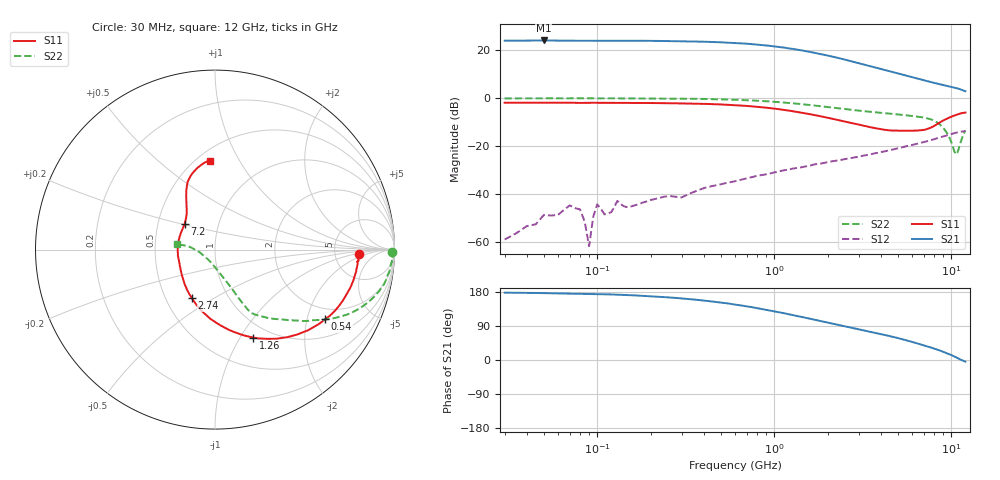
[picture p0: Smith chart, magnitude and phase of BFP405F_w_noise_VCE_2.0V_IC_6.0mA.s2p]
! Infineon Technologies  Discrete & RF Semiconductors
! BFP405F
! VCE =  2.0 V,  IC =  6.0 mA
! Common Emitter S-Parameters:  Nov 2015
# GHz  S  MA  R  50
!  f  S11  S21  S12  S22
! GHz  MAG  ANG  MAG  ANG  MAG  ANG  MAG  ANG
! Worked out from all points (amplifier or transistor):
!   239 points, 30 MHz to 12 GHz, reference 50 ohm
!   highest |S21| = 24.1 dB at 50 MHz (marker M1)
!   |S21| within 3 dB of that: start of sweep to 1.135 GHz
!   unconditionally stable (mu >= 1): start of sweep to 30.93 MHz; 2.693 GHz to end of sweep
!   at 300 MHz: K = 0.08, MSG = 32.7 dB, |S12| = -41.5 dB
!   at 1.88 GHz: K = 0.74, MSG = 22.7 dB, |S12| = -27.2 dB
!   at 12 GHz: K = 1.44, MAG = 4.4 dB, |S12| = -13.8 dB
!   lowest NFmin = 1.38 dB at 450 MHz
!   S11 on the Smith chart (normalised r, x): 30 MHz: 8.89, -1.25; 540 MHz: 1.58, -2.59; 1.26 GHz: 0.83, -1.14; 2.74 GHz: 0.68, -0.40; 7.2 GHz: 0.69, +0.21; 12 GHz: 0.58, +0.76
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0.03  0.8014 -1.8  15.89 177.7  0.0011 16.2  0.9858 -0.7
0.05  0.7965 -3.4  16.08 176.5  0.0036 121.1  0.9921 -1.4
0.07  0.8022 -4.5  15.92 175.1  0.0057 101.9  0.9904 -2.0
0.085  0.7967 -5.2  15.88 174.5  0.0026 78.3  0.9896 -2.4
0.09  0.7995 -5.5  15.91 174.5  0.0008 124.4  0.9904 -2.6
0.1  0.7986 -6.2  15.82 174.0  0.006 74.1  0.9854 -3.0
0.11  0.7976 -6.9  15.84 173.3  0.0037 87.0  0.9884 -3.1
0.145  0.7951 -9.1  15.87 171.7  0.0053 77.0  0.9871 -4.1
0.24  0.7851 -14.9  15.65 165.9  0.0087 76.8  0.9794 -6.9
0.4  0.7589 -24.4  15.15 156.9  0.0131 82.4  0.9619 -11.4
0.54  0.7266 -32.3  14.5 149.6  0.0168 76.0  0.9361 -15.0
0.6  0.712 -35.6  14.23 146.4  0.0183 74.3  0.9248 -16.5
0.9  0.6315 -50.7  12.67 132.5  0.0255 69.8  0.8609 -22.9
1.26  0.5348 -66.4  10.76 118.9  0.0333 66.0  0.7817 -28.8
1.64  0.4514 -80.6  9.062 107.7  0.0399 62.5  0.7089 -33.4
2.18  0.3626 -99.1  7.237 95.0  0.0485 59.5  0.6263 -39.4
2.74  0.3002 -115.4  5.88 85.0  0.0562 57.9  0.5667 -43.8
4.5  0.2119 -160.4  3.632 63.0  0.0817 53.8  0.4749 -52.9
7.2  0.2217 139.7  2.297 36.7  0.1239 45.4  0.3823 -61.3
9  0.341 118.1  1.879 21.6  0.158 38.0  0.2379 -66.5
10.6  0.4438 106.4  1.631 7.5  0.1882 28.8  0.0668 -127.0
12  0.4973 93.5  1.393 -4.4  0.2051 21.0  0.2122 172.0
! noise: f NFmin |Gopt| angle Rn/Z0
0.45  1.38  0.34  6  0.33
0.9  1.39  0.31  11  0.33
1.5  1.45  0.29  18  0.31
1.9  1.48  0.27  24  0.3
2.4  1.63  0.26  33  0.32
3  1.7  0.24  45  0.31
3.5  1.75  0.22  54  0.28
4.5  1.9  0.17  62  0.22
5.5  2.12  0.09  71  0.09
